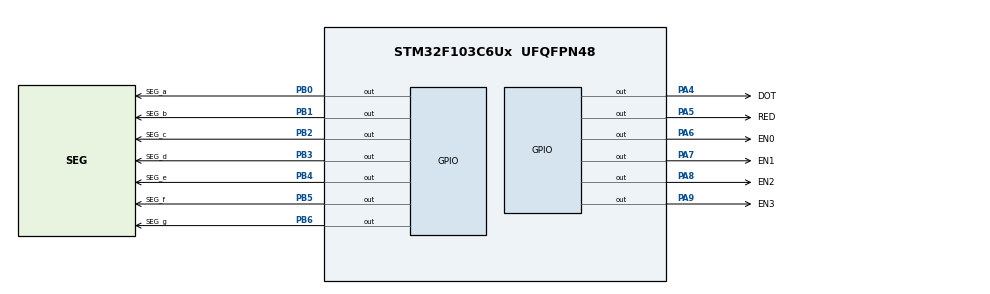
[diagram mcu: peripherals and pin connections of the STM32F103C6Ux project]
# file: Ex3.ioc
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Mcu.Family=STM32F1
Mcu.Name=STM32F103C6Ux
Mcu.Package=UFQFPN48
NVIC.PriorityGroup=NVIC_PRIORITYGROUP_4
NVIC.TIM2_IRQn=true\:0\:0\:false\:false\:true\:true\:true
PA4.GPIO_Label=DOT
PA4.Signal=GPIO_Output
PA5.GPIO_Label=RED
PA5.Signal=GPIO_Output
PA6.GPIO_Label=EN0
PA6.Signal=GPIO_Output
PA7.GPIO_Label=EN1
PA7.Signal=GPIO_Output
PA8.GPIO_Label=EN2
PA8.Signal=GPIO_Output
PA9.GPIO_Label=EN3
PA9.Signal=GPIO_Output
PB0.GPIO_Label=SEG_a
PB0.Signal=GPIO_Output
PB1.GPIO_Label=SEG_b
PB1.Signal=GPIO_Output
PB2.GPIO_Label=SEG_c
PB2.Signal=GPIO_Output
PB3.GPIO_Label=SEG_d
PB3.Signal=GPIO_Output
PB4.GPIO_Label=SEG_e
PB4.Signal=GPIO_Output
PB5.GPIO_Label=SEG_f
PB5.Signal=GPIO_Output
PB6.GPIO_Label=SEG_g
PB6.Signal=GPIO_Output
ProjectManager.HeapSize=0x200
ProjectManager.StackSize=0x400
ProjectManager.TargetToolchain=STM32CubeIDE
RCC.APB1Freq_Value=8000000
RCC.APB2Freq_Value=8000000
TIM2.Period=9
TIM2.Prescaler=7999
VP_SYS_VS_ND.Mode=No_Debug
VP_TIM2_VS_ClockSourceINT.Mode=Internal
board=custom

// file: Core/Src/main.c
/* USER CODE BEGIN Header */
/**
  ******************************************************************************
  * @file           : main.c
  * @brief          : Main program body
  ******************************************************************************
  * @attention
  *
  * <h2><center>&copy; Copyright (c) 2022 STMicroelectronics.
  * All rights reserved.</center></h2>
  *
  * This software component is licensed by ST under BSD 3-Clause license,
  * the "License"; You may not use this file except in compliance with the
  * License. You may obtain a copy of the License at:
  *                        opensource.org/licenses/BSD-3-Clause
  *
  ******************************************************************************
  */
/* USER CODE END Header */
#include "main.h"

TIM_HandleTypeDef htim2;

void SystemClock_Config(void);
static void MX_GPIO_Init(void);
static void MX_TIM2_Init(void);

/* USER CODE BEGIN 0 */
void display7SEG(int num){
	  if(num == 0){
		  HAL_GPIO_WritePin(SEG_a_GPIO_Port, SEG_a_Pin, RESET);
		  HAL_GPIO_WritePin(SEG_b_GPIO_Port, SEG_b_Pin, RESET);
		  HAL_GPIO_WritePin(SEG_c_GPIO_Port, SEG_c_Pin, RESET);
		  HAL_GPIO_WritePin(SEG_d_GPIO_Port, SEG_d_Pin, RESET);
		  HAL_GPIO_WritePin(SEG_e_GPIO_Port, SEG_e_Pin, RESET);
		  HAL_GPIO_WritePin(SEG_f_GPIO_Port, SEG_f_Pin, RESET);
		  HAL_GPIO_WritePin(SEG_g_GPIO_Port, SEG_g_Pin, SET);
	  }
	  if(num == 1){
		  HAL_GPIO_WritePin(SEG_a_GPIO_Port, SEG_a_Pin, SET);
		  HAL_GPIO_WritePin(SEG_b_GPIO_Port, SEG_b_Pin, RESET);
		  HAL_GPIO_WritePin(SEG_c_GPIO_Port, SEG_c_Pin, RESET);
		  HAL_GPIO_WritePin(SEG_d_GPIO_Port, SEG_d_Pin, SET);
		  HAL_GPIO_WritePin(SEG_e_GPIO_Port, SEG_e_Pin, SET);
		  HAL_GPIO_WritePin(SEG_f_GPIO_Port, SEG_f_Pin, SET);
		  HAL_GPIO_WritePin(SEG_g_GPIO_Port, SEG_g_Pin, SET);
	  }
	  if(num == 2){
		  HAL_GPIO_WritePin(SEG_a_GPIO_Port, SEG_a_Pin, RESET);
		  HAL_GPIO_WritePin(SEG_b_GPIO_Port, SEG_b_Pin, RESET);
		  HAL_GPIO_WritePin(SEG_c_GPIO_Port, SEG_c_Pin, SET);
		  HAL_GPIO_WritePin(SEG_d_GPIO_Port, SEG_d_Pin, RESET);
		  HAL_GPIO_WritePin(SEG_e_GPIO_Port, SEG_e_Pin, RESET);
		  HAL_GPIO_WritePin(SEG_f_GPIO_Port, SEG_f_Pin, SET);
		  HAL_GPIO_WritePin(SEG_g_GPIO_Port, SEG_g_Pin, RESET);
	  }
	  if(num == 3){
		  HAL_GPIO_WritePin(SEG_a_GPIO_Port, SEG_a_Pin, RESET);
		  HAL_GPIO_WritePin(SEG_b_GPIO_Port, SEG_b_Pin, RESET);
		  HAL_GPIO_WritePin(SEG_c_GPIO_Port, SEG_c_Pin, RESET);
		  HAL_GPIO_WritePin(SEG_d_GPIO_Port, SEG_d_Pin, RESET);
		  HAL_GPIO_WritePin(SEG_e_GPIO_Port, SEG_e_Pin, SET);
		  HAL_GPIO_WritePin(SEG_f_GPIO_Port, SEG_f_Pin, SET);
		  HAL_GPIO_WritePin(SEG_g_GPIO_Port, SEG_g_Pin, RESET);
	  }
	  if(num == 4){
		  HAL_GPIO_WritePin(SEG_a_GPIO_Port, SEG_a_Pin, SET);
		  HAL_GPIO_WritePin(SEG_b_GPIO_Port, SEG_b_Pin, RESET);
		  HAL_GPIO_WritePin(SEG_c_GPIO_Port, SEG_c_Pin, RESET);
		  HAL_GPIO_WritePin(SEG_d_GPIO_Port, SEG_d_Pin, SET);
		  HAL_GPIO_WritePin(SEG_e_GPIO_Port, SEG_e_Pin, SET);
		  HAL_GPIO_WritePin(SEG_f_GPIO_Port, SEG_f_Pin, RESET);
		  HAL_GPIO_WritePin(SEG_g_GPIO_Port, SEG_g_Pin, RESET);
	  }
	  if(num == 5){
		  HAL_GPIO_WritePin(SEG_a_GPIO_Port, SEG_a_Pin, RESET);
		  HAL_GPIO_WritePin(SEG_b_GPIO_Port, SEG_b_Pin, SET);
		  HAL_GPIO_WritePin(SEG_c_GPIO_Port, SEG_c_Pin, RESET);
		  HAL_GPIO_WritePin(SEG_d_GPIO_Port, SEG_d_Pin, RESET);
		  HAL_GPIO_WritePin(SEG_e_GPIO_Port, SEG_e_Pin, SET);
		  HAL_GPIO_WritePin(SEG_f_GPIO_Port, SEG_f_Pin, RESET);
		  HAL_GPIO_WritePin(SEG_g_GPIO_Port, SEG_g_Pin, RESET);
	  }
	  if(num == 6){
		  HAL_GPIO_WritePin(SEG_a_GPIO_Port, SEG_a_Pin, RESET);
		  HAL_GPIO_WritePin(SEG_b_GPIO_Port, SEG_b_Pin, SET);
		  HAL_GPIO_WritePin(SEG_c_GPIO_Port, SEG_c_Pin, RESET);
		  HAL_GPIO_WritePin(SEG_d_GPIO_Port, SEG_d_Pin, RESET);
		  HAL_GPIO_WritePin(SEG_e_GPIO_Port, SEG_e_Pin, RESET);
		  HAL_GPIO_WritePin(SEG_f_GPIO_Port, SEG_f_Pin, RESET);
		  HAL_GPIO_WritePin(SEG_g_GPIO_Port, SEG_g_Pin, RESET);
	  }
	  if(num == 7){
		  HAL_GPIO_WritePin(SEG_a_GPIO_Port, SEG_a_Pin, RESET);
		  HAL_GPIO_WritePin(SEG_b_GPIO_Port, SEG_b_Pin, RESET);
		  HAL_GPIO_WritePin(SEG_c_GPIO_Port, SEG_c_Pin, RESET);
		  HAL_GPIO_WritePin(SEG_d_GPIO_Port, SEG_d_Pin, SET);
		  HAL_GPIO_WritePin(SEG_e_GPIO_Port, SEG_e_Pin, SET);
		  HAL_GPIO_WritePin(SEG_f_GPIO_Port, SEG_f_Pin, SET);
		  HAL_GPIO_WritePin(SEG_g_GPIO_Port, SEG_g_Pin, SET);
	  }
	  if(num == 8){
		  HAL_GPIO_WritePin(SEG_a_GPIO_Port, SEG_a_Pin, RESET);
		  HAL_GPIO_WritePin(SEG_b_GPIO_Port, SEG_b_Pin, RESET);
		  HAL_GPIO_WritePin(SEG_c_GPIO_Port, SEG_c_Pin, RESET);
		  HAL_GPIO_WritePin(SEG_d_GPIO_Port, SEG_d_Pin, RESET);
		  HAL_GPIO_WritePin(SEG_e_GPIO_Port, SEG_e_Pin, RESET);
		  HAL_GPIO_WritePin(SEG_f_GPIO_Port, SEG_f_Pin, RESET);
		  HAL_GPIO_WritePin(SEG_g_GPIO_Port, SEG_g_Pin, RESET);
	  }
	  if(num == 9){
		  HAL_GPIO_WritePin(SEG_a_GPIO_Port, SEG_a_Pin, RESET);
		  HAL_GPIO_WritePin(SEG_b_GPIO_Port, SEG_b_Pin, RESET);
		  HAL_GPIO_WritePin(SEG_c_GPIO_Port, SEG_c_Pin, RESET);
		  HAL_GPIO_WritePin(SEG_d_GPIO_Port, SEG_d_Pin, RESET);
		  HAL_GPIO_WritePin(SEG_e_GPIO_Port, SEG_e_Pin, SET);
		  HAL_GPIO_WritePin(SEG_f_GPIO_Port, SEG_f_Pin, RESET);
		  HAL_GPIO_WritePin(SEG_g_GPIO_Port, SEG_g_Pin, RESET);
	  }
}
const int MAX_LED = 4;
int index_led = 0;
int led_buffer [4] = {1 , 2 , 3 , 4};
void update7SEG(int index){
	index = index % MAX_LED;
	switch(index){
	case 0:
		HAL_GPIO_WritePin(EN1_GPIO_Port, EN1_Pin, SET);
		HAL_GPIO_WritePin(EN2_GPIO_Port, EN2_Pin, SET);
		HAL_GPIO_WritePin(EN3_GPIO_Port, EN3_Pin, SET);
		display7SEG(led_buffer[0]);
		HAL_GPIO_WritePin(EN0_GPIO_Port, EN0_Pin, RESET);
		break;
	case 1:
		HAL_GPIO_WritePin(EN0_GPIO_Port, EN0_Pin, SET);
		HAL_GPIO_WritePin(EN2_GPIO_Port, EN2_Pin, SET);
		HAL_GPIO_WritePin(EN3_GPIO_Port, EN3_Pin, SET);
		display7SEG(led_buffer[1]);
		HAL_GPIO_WritePin(EN1_GPIO_Port, EN1_Pin, RESET);
		break;
	case 2:
		HAL_GPIO_WritePin(EN0_GPIO_Port, EN0_Pin, SET);
		HAL_GPIO_WritePin(EN1_GPIO_Port, EN1_Pin, SET);
		HAL_GPIO_WritePin(EN3_GPIO_Port, EN3_Pin, SET);
		display7SEG(led_buffer[2]);
		HAL_GPIO_WritePin(EN2_GPIO_Port, EN2_Pin, RESET);
		break;
	case 3:
		HAL_GPIO_WritePin(EN0_GPIO_Port, EN0_Pin, SET);
		HAL_GPIO_WritePin(EN1_GPIO_Port, EN1_Pin, SET);
		HAL_GPIO_WritePin(EN2_GPIO_Port, EN2_Pin, SET);
		display7SEG(led_buffer[3]);
		HAL_GPIO_WritePin(EN3_GPIO_Port, EN3_Pin, RESET);
		break;
	default:
		index = 0;
		break;
	}
}
void updataClockBuffer(int hour, int minute, int* led_buffer){
	led_buffer[0] = hour / 10;
	led_buffer[1] = hour % 10;
	led_buffer[2] = minute / 10;
	led_buffer[3] = minute % 10;
}
/* USER CODE END 0 */

int main(void)
{

  /* MCU Configuration--------------------------------------------------------*/

  /* Reset of all peripherals, Initializes the Flash interface and the Systick. */
  HAL_Init();

  /* Configure the system clock */
  SystemClock_Config();

  /* Initialize all configured peripherals */
  MX_GPIO_Init();
  MX_TIM2_Init();
  /* USER CODE BEGIN 2 */
  HAL_TIM_Base_Start_IT(&htim2);
  /* USER CODE END 2 */

  /* Infinite loop */
  /* USER CODE BEGIN WHILE */
  int hour = 15, minute = 18, second = 50;
  while (1)
  {
	  second++;
	  if(second >= 60){
		  second = 0;
		  minute++;
	  }
	  if(minute >= 60){
		  minute = 0;
		  hour++;
	  }
	  if(hour >= 24){
		  hour = 0;
	  }
	  updataClockBuffer(hour, minute, led_buffer);
	  HAL_Delay(1000);
    /* USER CODE END WHILE */

  }
}

void SystemClock_Config(void)
{
  RCC_OscInitTypeDef RCC_OscInitStruct = {0};
  RCC_ClkInitTypeDef RCC_ClkInitStruct = {0};

  /** Initializes the RCC Oscillators according to the specified parameters
  * in the RCC_OscInitTypeDef structure.
  */
  RCC_OscInitStruct.OscillatorType = RCC_OSCILLATORTYPE_HSI;
  RCC_OscInitStruct.HSIState = RCC_HSI_ON;
  RCC_OscInitStruct.HSICalibrationValue = RCC_HSICALIBRATION_DEFAULT;
  RCC_OscInitStruct.PLL.PLLState = RCC_PLL_NONE;
  if (HAL_RCC_OscConfig(&RCC_OscInitStruct) != HAL_OK)
  {
    Error_Handler();
  }
  /** Initializes the CPU, AHB and APB buses clocks
  */
  RCC_ClkInitStruct.ClockType = RCC_CLOCKTYPE_HCLK|RCC_CLOCKTYPE_SYSCLK
                              |RCC_CLOCKTYPE_PCLK1|RCC_CLOCKTYPE_PCLK2;
  RCC_ClkInitStruct.SYSCLKSource = RCC_SYSCLKSOURCE_HSI;
  RCC_ClkInitStruct.AHBCLKDivider = RCC_SYSCLK_DIV1;
  RCC_ClkInitStruct.APB1CLKDivider = RCC_HCLK_DIV1;
  RCC_ClkInitStruct.APB2CLKDivider = RCC_HCLK_DIV1;

  if (HAL_RCC_ClockConfig(&RCC_ClkInitStruct, FLASH_LATENCY_0) != HAL_OK)
  {
    Error_Handler();
  }
}

static void MX_TIM2_Init(void)
{

  TIM_ClockConfigTypeDef sClockSourceConfig = {0};
  TIM_MasterConfigTypeDef sMasterConfig = {0};

  htim2.Instance = TIM2;
  htim2.Init.Prescaler = 7999;
  htim2.Init.CounterMode = TIM_COUNTERMODE_UP;
  htim2.Init.Period = 9;
  htim2.Init.ClockDivision = TIM_CLOCKDIVISION_DIV1;
  htim2.Init.AutoReloadPreload = TIM_AUTORELOAD_PRELOAD_DISABLE;
  if (HAL_TIM_Base_Init(&htim2) != HAL_OK)
  {
    Error_Handler();
  }
  sClockSourceConfig.ClockSource = TIM_CLOCKSOURCE_INTERNAL;
  if (HAL_TIM_ConfigClockSource(&htim2, &sClockSourceConfig) != HAL_OK)
  {
    Error_Handler();
  }
  sMasterConfig.MasterOutputTrigger = TIM_TRGO_RESET;
  sMasterConfig.MasterSlaveMode = TIM_MASTERSLAVEMODE_DISABLE;
  if (HAL_TIMEx_MasterConfigSynchronization(&htim2, &sMasterConfig) != HAL_OK)
  {
    Error_Handler();
  }

}

static void MX_GPIO_Init(void)
{
  GPIO_InitTypeDef GPIO_InitStruct = {0};

  /* GPIO Ports Clock Enable */
  __HAL_RCC_GPIOA_CLK_ENABLE();
  __HAL_RCC_GPIOB_CLK_ENABLE();

  /*Configure GPIO pin Output Level */
  HAL_GPIO_WritePin(GPIOA, DOT_Pin|RED_Pin|EN0_Pin|EN1_Pin
                          |EN2_Pin|EN3_Pin, GPIO_PIN_RESET);

  /*Configure GPIO pin Output Level */
  HAL_GPIO_WritePin(GPIOB, SEG_a_Pin|SEG_b_Pin|SEG_c_Pin|SEG_d_Pin
                          |SEG_e_Pin|SEG_f_Pin|SEG_g_Pin, GPIO_PIN_RESET);

  /*Configure GPIO pins : DOT_Pin RED_Pin EN0_Pin EN1_Pin
                           EN2_Pin EN3_Pin */
  GPIO_InitStruct.Pin = DOT_Pin|RED_Pin|EN0_Pin|EN1_Pin
                          |EN2_Pin|EN3_Pin;
  GPIO_InitStruct.Mode = GPIO_MODE_OUTPUT_PP;
  GPIO_InitStruct.Pull = GPIO_NOPULL;
  GPIO_InitStruct.Speed = GPIO_SPEED_FREQ_LOW;
  HAL_GPIO_Init(GPIOA, &GPIO_InitStruct);

  /*Configure GPIO pins : SEG_a_Pin SEG_b_Pin SEG_c_Pin SEG_d_Pin
                           SEG_e_Pin SEG_f_Pin SEG_g_Pin */
  GPIO_InitStruct.Pin = SEG_a_Pin|SEG_b_Pin|SEG_c_Pin|SEG_d_Pin
                          |SEG_e_Pin|SEG_f_Pin|SEG_g_Pin;
  GPIO_InitStruct.Mode = GPIO_MODE_OUTPUT_PP;
  GPIO_InitStruct.Pull = GPIO_NOPULL;
  GPIO_InitStruct.Speed = GPIO_SPEED_FREQ_LOW;
  HAL_GPIO_Init(GPIOB, &GPIO_InitStruct);

}

/* USER CODE BEGIN 4 */
int counter = 100;
void HAL_TIM_PeriodElapsedCallback(TIM_HandleTypeDef * htim){
	counter--;
	/*Calculate index_led to enable 7-Segment led every 250ms*/
	if(counter % 25 == 0){
		index_led++;
		update7SEG(index_led);
	}
	if(counter <= 0){
		/*Toggle 2-led and Red led every second*/
		HAL_GPIO_TogglePin(DOT_GPIO_Port, DOT_Pin);
		HAL_GPIO_TogglePin(RED_GPIO_Port, RED_Pin);
		/*reset timer*/
		counter = 100;
	}
}
/* USER CODE END 4 */

void Error_Handler(void)
{
  __disable_irq();
  while (1)
  {
  }
}

/************************ (C) COPYRIGHT STMicroelectronics *****END OF FILE****/
